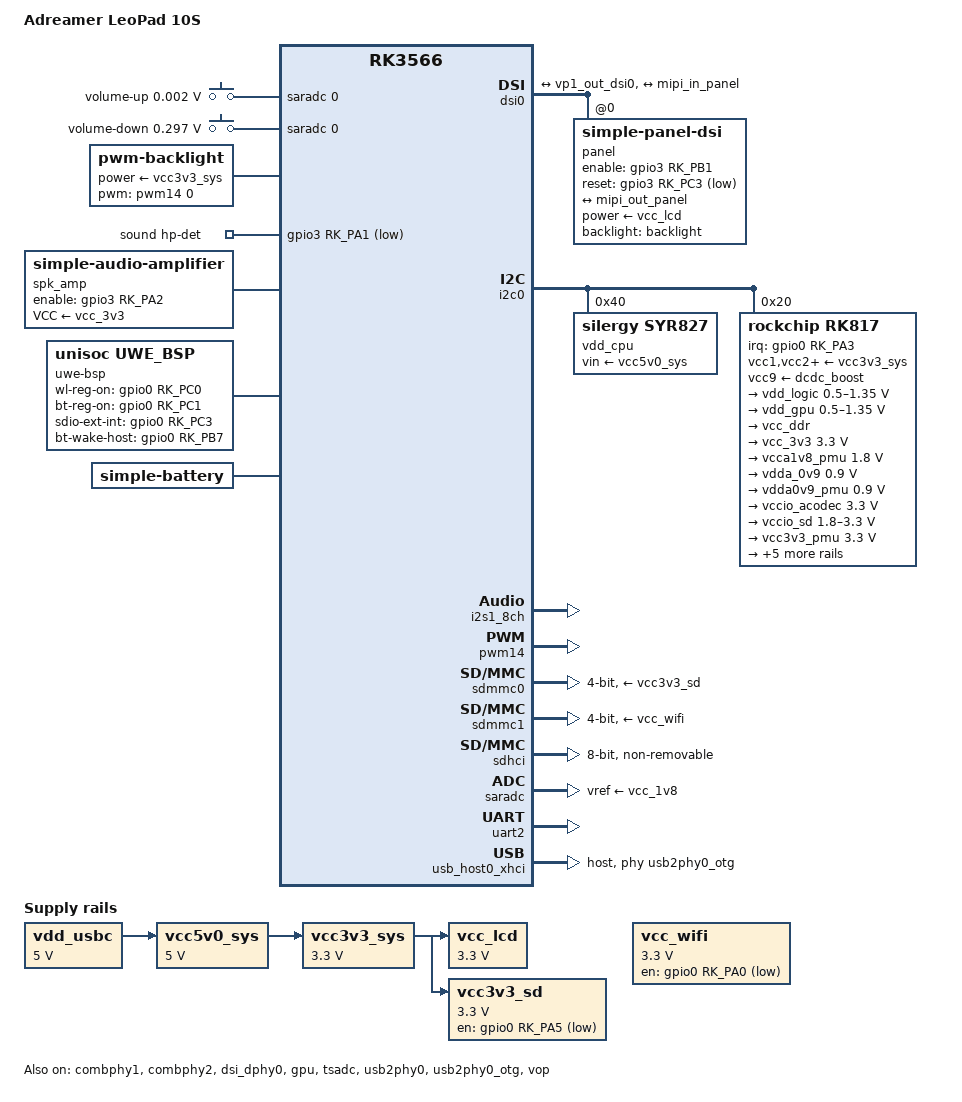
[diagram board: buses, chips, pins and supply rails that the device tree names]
// SPDX-License-Identifier: GPL-2.0-or-later OR MIT
/*
 * Copyright (c) 2025 Serhii Serhieiev <adron@ngnp.net>
 */

/dts-v1/;
#include <dt-bindings/gpio/gpio.h>
#include <dt-bindings/input/input.h>
#include <dt-bindings/leds/common.h>
#include <dt-bindings/pinctrl/rockchip.h>
#include <dt-bindings/soc/rockchip,vop2.h>
#include <dt-bindings/display/drm_mipi_dsi.h>
#include "rk3566.dtsi"

/ {
	model = "Adreamer LeoPad 10S";
	compatible = "adreamer,leopad-10s", "rockchip,rk3566";

	aliases {
		mmc0 = &sdmmc0;
		mmc1 = &sdmmc1;
		mmc2 = &sdhci;
	};

	chosen: chosen {
		stdout-path = "serial2:1500000n8";
		bootargs = "console=tty0 console=ttyS2,1500000n8 logo.nologo snd_soc_core.dapm_debug=1";
	};

	adc-keys {
		compatible = "adc-keys";
		io-channels = <&saradc 0>;
		io-channel-names = "buttons";
		keyup-threshold-microvolt = <1800000>;
		poll-interval = <100>;

		vol-up-key {
			label = "volume-up";
			linux,code = <KEY_KP9>;
			press-threshold-microvolt = <1750>;
		};
		vol-down-key {
			label = "volume-down";
			linux,code = <KEY_KP8>;
			press-threshold-microvolt = <297500>;
		};
	};


	backlight: backlight {
		compatible = "pwm-backlight";
		power-supply = <&vcc3v3_sys>;
		pwms = <&pwm14 0 25000 0>;
		brightness-levels = <
			0		20	20	21	21	22	22	23
			23	24	24	25	25	26	26	27
			27	28	28	29	29	30	30	31
			31	32	32	33	33	34	34	35
			35	36	36	37	37	38	38	39
			40	41	42	43	44	45	46	47
			48	49	50	51	52	53	54	55
			56	57	58	59	60	61	62	63
			64	65	66	67	68	69	70	71
			72	73	74	75	76	77	78	79
			80	81	82	83	84	85	86	87
			88	89	90	91	92	93	94	95
			96	97	98	99	100	101	102	103
			104	105	106	107	108	109	110	111
			112	113	114	115	116	117	118	119
			120	121	122	123	124	125	126	127
			128	129	130	131	132	133	134	135
			136	137	138	139	140	141	142	143
			144	145	146	147	148	149	150	151
			152	153	154	155	156	157	158	159
			160	161	162	163	164	165	166	167
			168	169	170	171	172	173	174	175
			176	177	178	179	180	181	182	183
			184	185	186	187	188	189	190	191
			192	193	194	195	196	197	198	199
			200	201	202	203	204	205	206	207
			208	209	210	211	212	213	214	215
			216	217	218	219	220	221	222	223
			224	225	226	227	228	229	230	231
			232	233	234	235	236	237	238	239
			240	241	242	243	244	245	246	247
			248	249	250	251	252	253	254	255>;
		default-brightness-level = <128>;
	};

	sound {
		compatible = "simple-audio-card";
		pinctrl-0 = <&hp_det>;
		pinctrl-names = "default";
		simple-audio-card,name = "rk817_ext";
		simple-audio-card,aux-devs = <&spk_amp>;
		simple-audio-card,format = "i2s";
		simple-audio-card,hp-det-gpio = <&gpio3 RK_PA1 GPIO_ACTIVE_LOW>;
		simple-audio-card,mclk-fs = <256>;
		simple-audio-card,widgets =
			"Microphone", "Internal Mic",
			"Microphone", "Mic Jack",
			"Headphone", "Headphones",
			"Speaker", "Internal Speakers";
		simple-audio-card,routing =
			/* Internal mic */
			"MICL", "Internal Mic",
			/* External mic (e.g. headset) */
			"MICL", "Mic Jack",

			/* Headphones */
			"Headphones", "HPOL",
			"Headphones", "HPOR",

	    /* Speaker amp path */
			"Speaker Amp INL", "HPOL",
			"Speaker Amp INR", "HPOR",
			"Internal Speakers", "Speaker Amp OUTL",
			"Internal Speakers", "Speaker Amp OUTR";

		simple-audio-card,pin-switches = "Internal Speakers";

		simple-audio-card,codec {
			sound-dai = <&rk817>;
		};

		simple-audio-card,cpu {
			sound-dai = <&i2s1_8ch>;
		};
	};

	spk_amp: audio-amplifier {
		compatible = "simple-audio-amplifier";
		enable-gpios = <&gpio3 RK_PA2 GPIO_ACTIVE_HIGH>;
		pinctrl-0 = <&spk_amp_enable_h>;
		pinctrl-names = "default";
		sound-name-prefix = "Speaker Amp";
		VCC-supply = <&vcc_3v3>;
	};

	sdio_pwrseq: sdio-pwrseq {
		compatible = "mmc-pwrseq-simple";
		clocks = <&rk817 1>;
		clock-names = "ext_clock";
		//pinctrl-names = "default";
		//pinctrl-0 = <&wifi_enable_h>;
    //reset-gpios = <&gpio0 RK_PC0 GPIO_ACTIVE_LOW>; // chip_en (wl-reg-on)
		/* The UWE driver is responsible for reset control. Otherwise, the card detection does not pass. */
	};

	sprd-wlan {
		compatible = "sprd,uwe5622-wifi";
		status = "okay";
	};

	sprd-mtty {
		compatible = "sprd,mtty";
		sprd,name = "ttyBT";
		status = "okay";
	};

	uwe-bsp {
		// Think of the BSP as the glue between the Linux kernel and the hardware — it ensures the UWE5621DS can initialize,
		// communicate, and function properly on your board. Without it, the kernel won’t know how to talk to the chip,
		// even if the hardware is present.
		compatible = "unisoc,uwe_bsp";
		wl-reg-on = <&gpio0 RK_PC0 GPIO_ACTIVE_HIGH>;
		bt-reg-on = <&gpio0 RK_PC1 GPIO_ACTIVE_HIGH>;
		sdio-ext-int-gpio = <&gpio0 RK_PC3 GPIO_ACTIVE_HIGH>;
		unisoc,btwf-file-name = "/lib/firmware/uwe5622/wcnmodem.bin";
		bt-wake-host;
		bt-wake-host-gpio = <&gpio0 RK_PB7 GPIO_ACTIVE_HIGH>;
		blksz-512;
		keep-power-on;
		//data-irq;
		sdma-tx;
		sdma-rx;
		status = "okay";
	};

	battery: battery {
		compatible = "simple-battery";
		charge-full-design-microamp-hours = <6000000>;
		charge-term-current-microamp = <300000>;
		constant-charge-current-max-microamp = <2000000>;
		constant-charge-voltage-max-microvolt = <4300000>;
		voltage-max-design-microvolt = <4138000>;
		voltage-min-design-microvolt = <3400000>;

		ocv-capacity-celsius = <20>;
		ocv-capacity-table-0 =  <4138000 100>, <4083000 95>, <4059000 90>, <4044000 85>,
					<4030000 80>, <4020000 75>, <4006000 70>, <3972000 65>,
					<3934000 60>, <3904000 55>, <3878000 50>, <3857000 45>,
					<3843000 40>, <3826000 35>, <3801000 30>, <3768000 25>,
					<3735000 20>, <3688000 15>, <3621000 10>, <3553000 5>,
					<3400000 0>;
	};

	/* hdmi-con {
		compatible = "hdmi-connector";
		type = "c";

		port {
			hdmi_con_in: endpoint {
				remote-endpoint = <&hdmi_out_con>;
			};
		};
	}; */

	vdd_usbc: vdd-usbc-regulator {
		compatible = "regulator-fixed";
		regulator-name = "vdd_usbc";
		regulator-always-on;
		regulator-boot-on;
		regulator-min-microvolt = <5000000>;
		regulator-max-microvolt = <5000000>;
	};

	vcc3v3_sys: regulator-vcc3v3-sys {
		compatible = "regulator-fixed";
		regulator-name = "vcc3v3_sys";
		regulator-always-on;
		regulator-boot-on;
		regulator-min-microvolt = <3300000>;
		regulator-max-microvolt = <3300000>;
		vin-supply = <&vcc5v0_sys>;
	};

	vcc_lcd: regulator-vcc-lcd {
		compatible = "regulator-fixed";
		regulator-name = "vcc_lcd";
		regulator-always-on;
		regulator-boot-on;
		regulator-min-microvolt = <3300000>;
		regulator-max-microvolt = <3300000>;
		vin-supply = <&vcc3v3_sys>;
	};

	vcc5v0_sys: regulator-vcc5v0-sys {
		compatible = "regulator-fixed";
		regulator-name = "vcc5v0_sys";
		regulator-always-on;
		regulator-boot-on;
		regulator-min-microvolt = <5000000>;
		regulator-max-microvolt = <5000000>;
		vin-supply = <&vdd_usbc>;
	};

	/*
	vcc5v0_usb_host: regulator-vcc5v0-usb2-host {
		compatible = "regulator-fixed";
		enable-active-high;
		gpio = <&gpio3 RK_PC0 GPIO_ACTIVE_HIGH>;
		pinctrl-names = "default";
		pinctrl-0 = <&vcc5v0_usb_host_en>;
		regulator-name = "vcc5v0_usb2_host";
		regulator-always-on;
		regulator-boot-on;
		regulator-min-microvolt = <5000000>;
		regulator-max-microvolt = <5000000>;
		vin-supply = <&vcc5v0_sys>;
	}; */

	/*
	vcc5v0_usb_otg: regulator-vcc5v0-usb2-otg {
		compatible = "regulator-fixed";
		enable-active-high;
		gpio = <&gpio3 RK_PC0 GPIO_ACTIVE_HIGH>;
		regulator-name = "vcc5v0_usb2_otg";
		regulator-min-microvolt = <5000000>;
		regulator-max-microvolt = <5000000>;
		vin-supply = <&dcdc_boost>;
	}; */

	vcc3v3_sd: vcc3v3_sd {
		compatible = "regulator-fixed";
		gpio = <&gpio0 RK_PA5 GPIO_ACTIVE_LOW>;
		pinctrl-names = "default";
		pinctrl-0 = <&vcc_sd_h>;
		regulator-boot-on;
		regulator-name = "vcc3v3_sd";
		regulator-min-microvolt = <3300000>;
		regulator-max-microvolt = <3300000>;
		vin-supply = <&vcc3v3_sys>;
	};

	vcc_wifi: regulator-vcc-wifi {
		compatible = "regulator-fixed";
		gpio = <&gpio0 RK_PA0 GPIO_ACTIVE_LOW>;
		pinctrl-0 = <&vcc_wifi_h>;
		pinctrl-names = "default";
		regulator-min-microvolt = <3300000>;
		regulator-max-microvolt = <3300000>;
		regulator-name = "vcc_wifi";
	};

};

&combphy1 {
	status = "okay";
};

&combphy2 {
	status = "okay";
};

&cpu0 {
	cpu-supply = <&vdd_cpu>;
};

&cpu1 {
	cpu-supply = <&vdd_cpu>;
};

&cpu2 {
	cpu-supply = <&vdd_cpu>;
};

&cpu3 {
	cpu-supply = <&vdd_cpu>;
};

&dsi_dphy0 {
	status = "okay";
};

&dsi0 {
	status = "okay";

	ports {
		dsi0_in: port@0 {
			reg = <0>;
			dsi0_in_vp1: endpoint {
				remote-endpoint = <&vp1_out_dsi0>;
			};
		};

		dsi0_out: port@1 {
			reg = <1>;
			mipi_out_panel: endpoint {
				remote-endpoint = <&mipi_in_panel>;
			};
		};
	};

	panel: panel@0 {
		compatible = "simple-panel-dsi";
		reg = <0>;

		backlight = <&backlight>;
    enable-gpios = <&gpio3 RK_PB1 GPIO_ACTIVE_HIGH>;
		reset-gpios = <&gpio3 RK_PC3 GPIO_ACTIVE_LOW>;

		pinctrl-names = "default";
		pinctrl-0 = <&lcd_rst &lcd_en>;

		power-supply = <&vcc_lcd>;

		prepare-delay-ms = <20>;
		reset-delay-ms = <20>;
		init-delay-ms = <20>;
		enable-delay-ms = <120>;
		disable-delay-ms = <20>;
		unprepare-delay-ms = <20>;

		width-mm = <135>;
		height-mm = <216>;

		dsi,flags = <(MIPI_DSI_MODE_VIDEO | MIPI_DSI_MODE_VIDEO_BURST |
			      MIPI_DSI_MODE_LPM | MIPI_DSI_MODE_NO_EOT_PACKET)>;

		dsi,format = <MIPI_DSI_FMT_RGB888>;
		dsi,lanes = <4>;

		panel-init-sequence = [39 00 04 ff 98 81 03 15 00 02 01 00 15 00 02 02 00 15 00 02 03 53 15 00 02 04 53 15 00 02 05 13 15 00 02 06 04 15 00 02 07 02 15 00 02 08 02 15 00 02 09 00 15 00 02 0a 00 15 00 02 0b 00 15 00 02 0c 00 15 00 02 0d 00 15 00 02 0e 00 15 00 02 0f 00 15 00 02 10 00 15 00 02 11 00 15 00 02 12 00 15 00 02 13 00 15 00 02 14 00 15 00 02 15 05 15 00 02 16 05 15 00 02 17 03 15 00 02 18 03 15 00 02 19 00 15 00 02 1a 00 15 00 02 1b 00 15 00 02 1c 00 15 00 02 1d 00 15 00 02 1e c0 15 00 02 1f 00 15 00 02 20 02 15 00 02 21 09 15 00 02 22 00 15 00 02 23 00 15 00 02 24 00 15 00 02 25 00 15 00 02 26 00 15 00 02 27 00 15 00 02 28 55 15 00 02 29 03 15 00 02 2a 00 15 00 02 2b 00 15 00 02 2c 00 15 00 02 2d 00 15 00 02 2e 00 15 00 02 2f 00 15 00 02 30 00 15 00 02 31 00 15 00 02 32 00 15 00 02 33 00 15 00 02 34 00 15 00 02 35 00 15 00 02 36 00 15 00 02 37 00 15 00 02 38 3c 15 00 02 39 00 15 00 02 3a 00 15 00 02 3b 00 15 00 02 3c 00 15 00 02 3d 00 15 00 02 3e 00 15 00 02 3f 00 15 00 02 40 00 15 00 02 41 00 15 00 02 42 00 15 00 02 43 00 15 00 02 44 00 15 00 02 50 01 15 00 02 51 23 15 00 02 52 45 15 00 02 53 67 15 00 02 54 89 15 00 02 55 ab 15 00 02 56 01 15 00 02 57 23 15 00 02 58 45 15 00 02 59 67 15 00 02 5a 89 15 00 02 5b ab 15 00 02 5c cd 15 00 02 5d ef 15 00 02 5e 01 15 00 02 5f 0a 15 00 02 60 02 15 00 02 61 02 15 00 02 62 08 15 00 02 63 15 15 00 02 64 14 15 00 02 65 02 15 00 02 66 11 15 00 02 67 10 15 00 02 68 02 15 00 02 69 0f 15 00 02 6a 0e 15 00 02 6b 02 15 00 02 6c 0d 15 00 02 6d 0c 15 00 02 6e 06 15 00 02 6f 02 15 00 02 70 02 15 00 02 71 02 15 00 02 72 02 15 00 02 73 02 15 00 02 74 02 15 00 02 75 0a 15 00 02 76 02 15 00 02 77 02 15 00 02 78 06 15 00 02 79 15 15 00 02 7a 14 15 00 02 7b 02 15 00 02 7c 10 15 00 02 7d 11 15 00 02 7e 02 15 00 02 7f 0c 15 00 02 80 0d 15 00 02 81 02 15 00 02 82 0e 15 00 02 83 0f 15 00 02 84 08 15 00 02 85 02 15 00 02 86 02 15 00 02 87 02 15 00 02 88 02 15 00 02 89 02 15 00 02 8a 02 39 00 04 ff 98 81 04 15 00 02 3b c0 15 00 02 6c 15 15 00 02 6e 30 15 00 02 6f 33 15 00 02 8d 1f 15 00 02 3a 24 15 00 02 35 1f 15 00 02 87 ba 15 00 02 26 76 15 00 02 b2 d1 15 00 02 b5 07 15 00 02 88 0b 15 00 02 21 30 39 00 04 ff 98 81 01 15 00 02 22 0a 15 00 02 31 09 15 00 02 40 33 15 00 02 42 44 15 00 02 53 2e 15 00 02 55 88 15 00 02 50 95 15 00 02 51 95 15 00 02 60 43 15 00 02 2e c8 15 00 02 a0 0f 15 00 02 a1 1d 15 00 02 a2 2a 15 00 02 a3 14 15 00 02 a4 16 15 00 02 a5 29 15 00 02 a6 1d 15 00 02 a7 1e 15 00 02 a8 83 15 00 02 a9 1e 15 00 02 aa 2b 15 00 02 ab 6f 15 00 02 ac 18 15 00 02 ad 17 15 00 02 ae 4c 15 00 02 af 22 15 00 02 b0 27 15 00 02 b1 4d 15 00 02 b2 5c 15 00 02 b3 2b 15 00 02 c0 0f 15 00 02 c1 1d 15 00 02 c2 2a 15 00 02 c3 14 15 00 02 c4 16 15 00 02 c5 29 15 00 02 c6 1d 15 00 02 c7 1e 15 00 02 c8 83 15 00 02 c9 1e 15 00 02 ca 2b 15 00 02 cb 6f 15 00 02 cc 18 15 00 02 cd 17 15 00 02 ce 4c 15 00 02 cf 22 15 00 02 d0 27 15 00 02 d1 4d 15 00 02 d2 5c 15 00 02 d3 2b 39 00 04 ff 98 81 00 15 00 02 35 00 05 78 01 11 05 64 01 29];
		panel-exit-sequence = [05 01 01 28 05 03 01 10];

		display-timings {
			native-mode = <&timing0>;

			timing0: timing0 {
				clock-frequency = <72600000>;
				hactive = <800>;
				vactive = <1280>;

				hsync-len = <16>;
				hback-porch = <60>;
				hfront-porch = <60>;

				vsync-len = <4>;
				vback-porch = <10>;
				vfront-porch = <10>;

				hsync-active = <0>;
				vsync-active = <0>;
				de-active = <0>;
				pixelclk-active = <1>;
			};
		};

		port {
			mipi_in_panel: endpoint {
				remote-endpoint = <&mipi_out_panel>;
			};
		};
	};
};

&gpu {
	mali-supply = <&vdd_gpu>;
	status = "okay";
};

/* &hdmi {
	status = "okay";
};

&hdmi_in {
	hdmi_in_vp0: endpoint {
		remote-endpoint = <&vp0_out_hdmi>;
	};
};

&hdmi_out {
	hdmi_out_con: endpoint {
		remote-endpoint = <&hdmi_con_in>;
	};
}; */

&i2c0 {
	status = "okay";

	vdd_cpu: regulator@40 {
		compatible = "silergy,syr827";
		reg = <0x40>;
		regulator-compatible = "fan53555-reg";
		fcs,suspend-voltage-selector = <1>;
		regulator-name = "vdd_cpu";
		regulator-min-microvolt = <712500>;
		regulator-max-microvolt = <1390000>;
		regulator-ramp-delay = <2300>;
		regulator-always-on;
		regulator-boot-on;
		vin-supply = <&vcc5v0_sys>;

		regulator-state-mem {
			regulator-off-in-suspend;
		};
	};

	rk817: pmic@20 {
		compatible = "rockchip,rk817";
		reg = <0x20>;
		interrupt-parent = <&gpio0>;
		interrupts = <RK_PA3 IRQ_TYPE_LEVEL_LOW>;
		clock-output-names = "rk808-clkout1", "rk808-clkout2";
		#clock-cells = <1>;
		pinctrl-names = "default";
		pinctrl-0 = <&pmic_int_l>, <&i2s1m0_mclk>;
		assigned-clocks = <&cru I2S1_MCLKOUT_TX>;
		assigned-clock-parents = <&cru CLK_I2S1_8CH_TX>;
		clock-names = "mclk";
		clocks = <&cru I2S1_MCLKOUT_TX>;
		rockchip,system-power-controller;
		#sound-dai-cells = <0>;
		wakeup-source;

		vcc1-supply = <&vcc3v3_sys>;
		vcc2-supply = <&vcc3v3_sys>;
		vcc3-supply = <&vcc3v3_sys>;
		vcc4-supply = <&vcc3v3_sys>;
		vcc5-supply = <&vcc3v3_sys>;
		vcc6-supply = <&vcc3v3_sys>;
		vcc7-supply = <&vcc3v3_sys>;
		vcc8-supply = <&vcc3v3_sys>;
		vcc9-supply = <&dcdc_boost>;

		regulators {
			vdd_logic: DCDC_REG1 {
				regulator-always-on;
				regulator-boot-on;
				regulator-min-microvolt = <500000>;
				regulator-max-microvolt = <1350000>;
				regulator-ramp-delay = <6001>;
				regulator-initial-mode = <0x2>;
				regulator-name = "vdd_logic";
				regulator-state-mem {
					regulator-on-in-suspend;
					regulator-suspend-microvolt = <900000>;
				};
			};

			vdd_gpu: DCDC_REG2 {
				regulator-always-on;
				regulator-boot-on;
				regulator-min-microvolt = <500000>;
				regulator-max-microvolt = <1350000>;
				regulator-ramp-delay = <6001>;
				regulator-initial-mode = <0x2>;
				regulator-name = "vdd_gpu";
				regulator-state-mem {
					regulator-off-in-suspend;
				};
			};

			vcc_ddr: DCDC_REG3 {
				regulator-always-on;
				regulator-boot-on;
				regulator-initial-mode = <0x2>;
				regulator-name = "vcc_ddr";
				regulator-state-mem {
					regulator-on-in-suspend;
				};
			};

			vcc_3v3: DCDC_REG4 {
				regulator-always-on;
				regulator-boot-on;
				regulator-min-microvolt = <3300000>;
				regulator-max-microvolt = <3300000>;
				regulator-initial-mode = <0x2>;
				regulator-name = "vcc_3v3";
				regulator-state-mem {
					regulator-off-in-suspend;
				};
			};

			vcca1v8_pmu: LDO_REG1 {
				regulator-always-on;
				regulator-boot-on;
				regulator-min-microvolt = <1800000>;
				regulator-max-microvolt = <1800000>;
				regulator-name = "vcca1v8_pmu";
				regulator-state-mem {
					regulator-on-in-suspend;
					regulator-suspend-microvolt = <1800000>;
				};
			};

			vdda_0v9: LDO_REG2 {
				regulator-always-on;
				regulator-boot-on;
				regulator-min-microvolt = <900000>;
				regulator-max-microvolt = <900000>;
				regulator-name = "vdda_0v9";
				regulator-state-mem {
					regulator-off-in-suspend;
				};
			};

			vdda0v9_pmu: LDO_REG3 {
				regulator-always-on;
				regulator-boot-on;
				regulator-min-microvolt = <900000>;
				regulator-max-microvolt = <900000>;
				regulator-name = "vdda0v9_pmu";
				regulator-state-mem {
					regulator-on-in-suspend;
					regulator-suspend-microvolt = <900000>;
				};
			};

			vccio_acodec: LDO_REG4 {
				regulator-always-on;
				regulator-boot-on;
				regulator-min-microvolt = <3300000>;
				regulator-max-microvolt = <3300000>;
				regulator-name = "vccio_acodec";
				regulator-state-mem {
					regulator-off-in-suspend;
				};
			};

			vccio_sd: LDO_REG5 {
				regulator-always-on;
				regulator-boot-on;
				regulator-min-microvolt = <1800000>;
				regulator-max-microvolt = <3300000>;
				regulator-name = "vccio_sd";
				regulator-state-mem {
					regulator-off-in-suspend;
				};
			};

			vcc3v3_pmu: LDO_REG6 {
				regulator-always-on;
				regulator-boot-on;
				regulator-min-microvolt = <3300000>;
				regulator-max-microvolt = <3300000>;
				regulator-name = "vcc3v3_pmu";
				regulator-state-mem {
					regulator-on-in-suspend;
					regulator-suspend-microvolt = <3300000>;
				};
			};

			vcc_1v8: LDO_REG7 {
				regulator-always-on;
				regulator-boot-on;
				regulator-min-microvolt = <1800000>;
				regulator-max-microvolt = <1800000>;
				regulator-name = "vcc_1v8";
				regulator-state-mem {
					regulator-off-in-suspend;
				};
			};

			vcc1v8_dvp: LDO_REG8 {
				regulator-always-on;
				regulator-boot-on;
				regulator-min-microvolt = <1800000>;
				regulator-max-microvolt = <1800000>;
				regulator-name = "vcc1v8_dvp";
				regulator-state-mem {
					regulator-off-in-suspend;
				};
			};

			vcc2v8_dvp: LDO_REG9 {
				regulator-always-on;
				regulator-boot-on;
				regulator-min-microvolt = <2800000>;
				regulator-max-microvolt = <2800000>;
				regulator-name = "vcc2v8_dvp";
				regulator-state-mem {
					regulator-off-in-suspend;
				};
			};

			dcdc_boost: BOOST {
				/* regulator-always-on; */
				/* regulator-boot-on; */
				regulator-min-microvolt = <5200000>;
				regulator-max-microvolt = <5400000>;
				regulator-name = "boost";
				regulator-state-mem {
					regulator-off-in-suspend;
				};
			};

			otg_switch: OTG_SWITCH {
				regulator-name = "otg_switch";
				regulator-state-mem {
					regulator-off-in-suspend;
				};
			};
		};

		rk817_charger: charger {
			monitored-battery = <&battery>;
			rockchip,resistor-sense-micro-ohms = <10000>;
			rockchip,sleep-enter-current-microamp = <150000>;
			rockchip,sleep-filter-current-microamp = <100000>;
		};

	};

};

&i2s0_8ch {
	status = "disabled";
	/* HDMI */
};

&i2s1_8ch {
	pinctrl-names = "default";
	pinctrl-0 = <&i2s1m0_sclktx
		     &i2s1m0_lrcktx
		     &i2s1m0_sdi0
		     &i2s1m0_sdo0>;
	rockchip,trcm-sync-tx-only;
	status = "okay";
	/* PMIC RK817 */
};

&i2s2_2ch {
	rockchip,trcm-sync-tx-only;
	status = "disabled";
	/* UWE5621 Bluetooth */
};


&pinctrl {
	pmic {
		pmic_int_l: pmic-int {
			rockchip,pins = <0 RK_PA3 RK_FUNC_GPIO &pcfg_pull_up>;
		};
	};

	usb {
		vcc5v0_usb_host_en: vcc5v0-usb-host-en {
			rockchip,pins = <3 RK_PC0 RK_FUNC_GPIO &pcfg_pull_none>;
		};
	};

	vcc_sd {
		vcc_sd_h: vcc-sd-h {
			rockchip,pins = <0 RK_PA5 RK_FUNC_GPIO &pcfg_pull_none>;
		};
	};

	lcd {
		lcd_rst: lcd-rst-gpio {
			rockchip,pins = <3 RK_PC3 RK_FUNC_GPIO &pcfg_pull_none>;
		};

		lcd_en: lcd-enable-gpio {
			rockchip,pins = <3 RK_PB1 RK_FUNC_GPIO &pcfg_pull_none>;
		};
	};

	sdio-pwrseq {
		wifi_enable_h: wifi-enable-h {
			rockchip,pins = <0 RK_PC0 RK_FUNC_GPIO &pcfg_pull_none>;
		};
	};

	vcc-wifi {
		vcc_wifi_h: vcc-wifi-h {
			rockchip,pins = <0 RK_PA0 RK_FUNC_GPIO &pcfg_pull_none>;
		};
	};

	audio-amplifier {
		spk_amp_enable_h: spk-amp-enable-h {
			rockchip,pins =
				<3 RK_PA2 RK_FUNC_GPIO &pcfg_pull_none>;
		};
	};

	hp-detect {
		hp_det: hp-det {
			rockchip,pins =
				<3 RK_PA1 RK_FUNC_GPIO &pcfg_pull_up>;
		};
	};

};

&pmu_io_domains {
	pmuio1-supply = <&vcc3v3_pmu>;
	pmuio2-supply = <&vcc3v3_pmu>;
	vccio1-supply = <&vccio_acodec>;
	vccio2-supply = <&vcc_1v8>;
	vccio3-supply = <&vccio_sd>;
	vccio4-supply = <&vcc_1v8>;
	vccio5-supply = <&vcc_3v3>;
	vccio6-supply = <&vcc1v8_dvp>;
	vccio7-supply = <&vcc_3v3>;
	status = "okay";
};

&pwm14 {
	status = "okay";
};

&sdmmc0 { /* sd-card slot */
	bus-width = <4>;
	cap-mmc-highspeed;
	cap-sd-highspeed;
	disable-wp;
	sd-uhs-sdr104;
	pinctrl-names = "default";
	pinctrl-0 = <&sdmmc0_bus4 &sdmmc0_clk &sdmmc0_cmd &sdmmc0_det>;
	vmmc-supply = <&vcc3v3_sd>;
	vqmmc-supply = <&vccio_sd>;
	status = "okay";
};

&sdmmc1 { /* sdio0 */
	/* WiFi & BT combo module Unisoc UWE5621DS */
	bus-width = <4>;
	cap-sd-highspeed;
	cap-sdio-irq;
	supports-sdio;
	disable-wp;
	keep-power-in-suspend;
	pinctrl-names = "default";
	vmmc-supply = <&vcc_wifi>;
	//max-frequency = <200000000>;
	pinctrl-0 = <&sdmmc1_bus4 &sdmmc1_cmd &sdmmc1_clk>;
	sd-uhs-sdr104;
	broken-cd;
	//mmc-pwrseq = <&sdio_pwrseq>;
	rockchip,default-sample-phase = <90>;
	status = "okay";
};

&sdhci {
	/* eMMC - mmc2 */
	bus-width = <8>;
	max-frequency = <200000000>;
	mmc-hs200-1_8v;
	non-removable;
	pinctrl-names = "default";
	pinctrl-0 = <&emmc_bus8 &emmc_clk &emmc_cmd &emmc_datastrobe>;
	status = "okay";
};

&tsadc {
	status = "okay";
};

&saradc {
	vref-supply = <&vcc_1v8>;
	status = "okay";
};

&uart1 { /* UWE5622 Bluetooth or GNSS? */
	pinctrl-0 = <&uart1m0_ctsn>, <&uart1m0_rtsn>, <&uart1m0_xfer>;
	pinctrl-names = "default";
	uart-has-rtscts;
	dma-names = "tx", "rx";
	status = "disabled";
};

&uart2 {
	status = "okay";
};

&usb2phy0 {
	status = "okay";
};

&usb2phy0_host {
	/* phy-supply = <&vcc5v0_usb_host>; */
	/* status = "okay"; */
	status = "disabled";
};

&usb2phy0_otg {
	/* vbus-supply = <&otg_switch>; !!! */
	status = "okay";
};

&usb_host0_xhci {
	/* dr_mode = "otg"; !!! */
	dr_mode = "host";
	phy-names = "usb2-phy";
	phys = <&usb2phy0_otg>;
	extcon = <&usb2phy0>;
	status = "okay";
};

&usb_host1_xhci {
	phy-names = "usb2-phy";
	phys = <&usb2phy0_host>;
	/* status = "okay"; */
	status = "disabled";
};

&cru {
	assigned-clocks = <&pmucru CLK_RTC_32K>, <&cru PLL_GPLL>, <&pmucru PLL_PPLL>,
		<&cru PLL_VPLL>;
	assigned-clock-rates = <32768>, <1200000000>, <200000000>,
		<216000000>;
};

&vop {
	assigned-clocks = <&cru DCLK_VOP0>, <&cru DCLK_VOP1>;
	assigned-clock-parents = <&pmucru PLL_HPLL>, <&cru PLL_VPLL>;
	status = "okay";
};

&vop_mmu {
	status = "okay";
};

/* &vp0 {
	vp0_out_hdmi: endpoint@ROCKCHIP_VOP2_EP_HDMI0 {
		reg = <ROCKCHIP_VOP2_EP_HDMI0>;
		remote-endpoint = <&hdmi_in_vp0>;
	};
}; */

&vp1 {
	vp1_out_dsi0: endpoint@ROCKCHIP_VOP2_EP_MIPI0 {
		reg = <ROCKCHIP_VOP2_EP_MIPI0>;
		remote-endpoint = <&dsi0_in_vp1>;
	};
};
